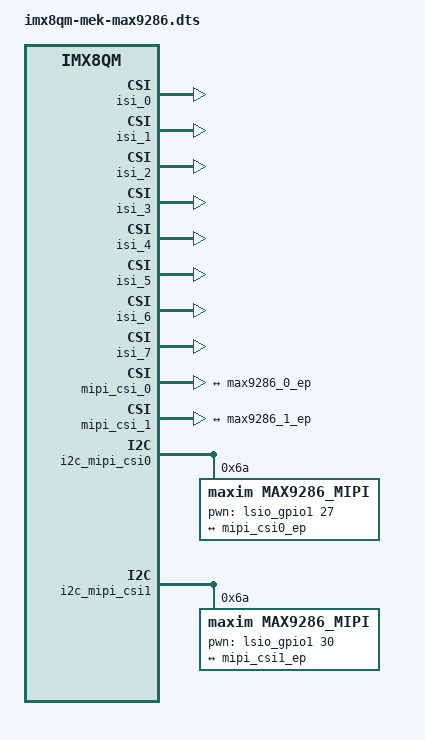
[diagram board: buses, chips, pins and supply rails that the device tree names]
// SPDX-License-Identifier: GPL-2.0+
// Copyright NXP 2019

#include "imx8qm-mek.dts"

&isi_0 {
	status = "okay";
};

&isi_1 {
	status = "okay";
};

&isi_2 {
	status = "okay";
};

&isi_3 {
	status = "okay";
};

&isi_4 {
	status = "okay";
};

&isi_5 {
	status = "okay";
};

&isi_6 {
	status = "okay";
};

&isi_7 {
	status = "okay";
};

&mipi_csi_0 {
	virtual-channel;

	/* Camera 0  MIPI CSI-2 (CSIS0) */
	port@0 {
		reg = <0>;
		mipi_csi0_ep: endpoint {
			remote-endpoint = <&max9286_0_ep>;
			data-lanes = <1 2 3 4>;
		};
	};
};

&mipi_csi_1 {
	virtual-channel;

	/* Camera 0  MIPI CSI-2 (CSIS0) */
	port@1 {
		reg = <1>;
		mipi_csi1_ep: endpoint {
			remote-endpoint = <&max9286_1_ep>;
			data-lanes = <1 2 3 4>;
		};
	};
};

&i2c_mipi_csi0 {
	max9286_mipi@6a {
		compatible = "maxim,max9286_mipi";
		reg = <0x6a>;
		pinctrl-names = "default";
		pinctrl-0 = <&pinctrl_mipi_csi0>;
		clocks = <&clk IMX_CLK_DUMMY>;
		clock-names = "capture_mclk";
		mclk = <27000000>;
		mclk_source = <0>;
		pwn-gpios = <&lsio_gpio1 27 GPIO_ACTIVE_HIGH>;
		virtual-channel;
		status = "okay";
		port {
			max9286_0_ep: endpoint {
				remote-endpoint = <&mipi_csi0_ep>;
				data-lanes = <1 2 3 4>;
			};
		};
	};

	/delete-node/ov5640_mipi@3c;
};

&i2c_mipi_csi1 {
	max9286_mipi@6a {
		compatible = "maxim,max9286_mipi";
		reg = <0x6a>;
		pinctrl-names = "default";
		pinctrl-0 = <&pinctrl_mipi_csi1>;
		clocks = <&clk IMX_CLK_DUMMY>;
		clock-names = "capture_mclk";
		mclk = <27000000>;
		mclk_source = <0>;
		pwn-gpios = <&lsio_gpio1 30 GPIO_ACTIVE_HIGH>;
		virtual-channel;
		status = "okay";
		port {
			max9286_1_ep: endpoint {
				remote-endpoint = <&mipi_csi1_ep>;
				data-lanes = <1 2 3 4>;
			};
		};
	};

	/delete-node/ov5640_mipi@3c;
};
